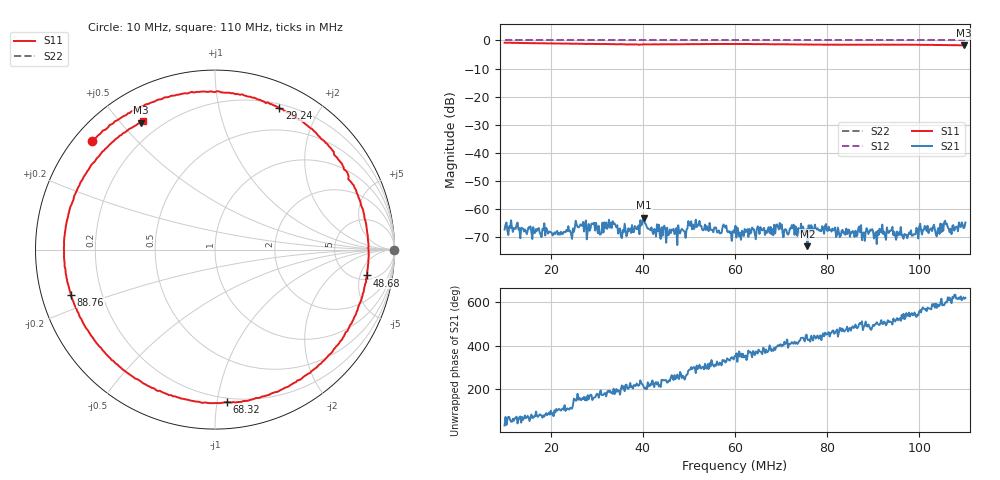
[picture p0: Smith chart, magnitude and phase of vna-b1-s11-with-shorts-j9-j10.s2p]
! Anritsu VNA Master:  Model: MS2034B/10/19/501
! SN:  1337062
! /bd0/ovro-jan-2016/vna-jan/vna-b1-s11-with-shorts-j9-j10.s2p
! Existing Calibration Information:
! TYPE:  Current Settings,  Active Cal Settings
! TIME:  01/13/2016 12:53:01 PM,  01/12/2016 05:57:47 PM
! INTERNAL TEMP:  44.3 C,  46.0 C
! # POINTS:  500,  500
! START FREQ:  10.000 MHz,  10.000 MHz
! STOP FREQ:  110.000 MHz,  110.000 MHz
! SOURCE POWER:  Low,  Low
! IFBW:  100 Hz,  1 kHz
! AVG FACTOR:  1 ,  3
! REF PLANE 1:  0 mm,  0 mm
! REF PLANE 2:  0 mm,  0 mm
! CAL TYPE:  1P2P S11,S21,  1P2P S11,S21
! CAL METHOD:  SOLT,  SOLT
! CAL LINE TYPE:  Coax,  Coax
! DUT PORT 1:  K-Conn(M),  K-Conn(M)
! DUT PORT 2:  N-Conn(M),  N-Conn(M)
! CAL STATUS:  OK: Accuracy High,  --
# GHZ S DB R 50.0
! FREQ.GHZ  S11DB  S11A  S21DB  S21A  S12DB  S12A  S22DB  S22A
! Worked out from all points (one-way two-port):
!   500 points, 10 MHz to 110 MHz, reference 50 ohm
!   highest |S21| = -63.05 dB at 40.26 MHz (marker M1); lowest = -73.1 dB at 75.73 MHz (marker M2)
!   lowest |S11| = -1.7 dB at 109.6 MHz (marker M3), VSWR 10.05, Z = 6.59 + j28.3 ohm
!   |S11| at or under -10 dB: nowhere
!   |S22| runs from 0.0 to 0.0 dB; largest |S21 - S12| = 1
!   S11 on the Smith chart (normalised r, x): 10 MHz: 0.05, +0.38; 29.24 MHz: 0.24, +1.53; 48.68 MHz: 5.93, -6.49; 68.32 MHz: 0.17, -1.07; 88.76 MHz: 0.09, -0.15; 110 MHz: 0.13, +0.58
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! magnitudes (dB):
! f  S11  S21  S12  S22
! 10 MHz  -0.8  -67.2  0.0  0.0
! 22.02 MHz  -1.1  -69.0  0.0  0.0
! 26.83 MHz  -1.2  -65.9  0.0  0.0
! 28.24 MHz  -1.2  -65.2  0.0  0.0
! 29.24 MHz  -1.2  -65.3  0.0  0.0
! 30.64 MHz  -1.3  -69.0  0.0  0.0
! 33.85 MHz  -1.3  -65.0  0.0  0.0
! 35.05 MHz  -1.3  -66.8  0.0  0.0
! 40.26 MHz  -1.4  -63.0  0.0  0.0
! 43.47 MHz  -1.4  -65.5  0.0  0.0
! 48.68 MHz  -1.3  -67.3  0.0  0.0
! 51.88 MHz  -1.3  -65.9  0.0  0.0
! 60.1 MHz  -1.3  -65.9  0.0  0.0
! 68.32 MHz  -1.4  -69.2  0.0  0.0
! 69.32 MHz  -1.4  -66.1  0.0  0.0
! 75.73 MHz  -1.5  -73.1  0.0  0.0
! 76.73 MHz  -1.5  -66.3  0.0  0.0
! 88.76 MHz  -1.5  -67.6  0.0  0.0
! 93.37 MHz  -1.5  -68.4  0.0  0.0
! 96.97 MHz  -1.5  -69.0  0.0  0.0
! 109.6 MHz  -1.7  -66.7  0.0  0.0
! 110 MHz  -1.7  -64.7  0.0  0.0
